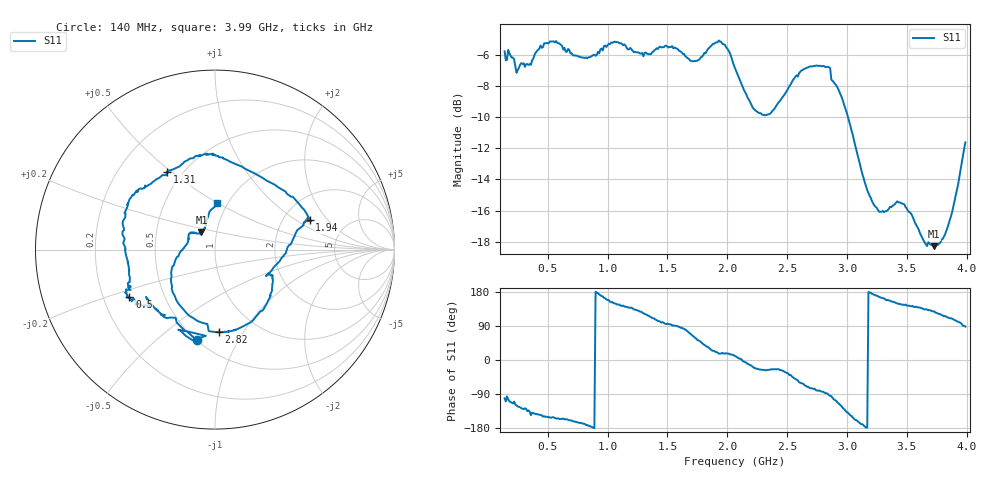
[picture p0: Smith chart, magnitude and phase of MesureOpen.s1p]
# MHz S MA R 50.0
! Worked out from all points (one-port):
!   386 points, 140 MHz to 3.99 GHz, reference 50 ohm
!   lowest |S11| = -18.3 dB at 3.73 GHz (marker M1), VSWR 1.28, Z = 42.2 + j8.19 ohm
!   |S11| at or under -10 dB: 3.009 GHz to end of sweep
!   S11 on the Smith chart (normalised r, x): 140 MHz: 0.50, -0.69; 500 MHz: 0.31, -0.24; 1.31 GHz: 0.41, +0.48; 1.94 GHz: 2.79, +1.31; 2.82 GHz: 0.68, -0.78; 3.99 GHz: 0.89, +0.50
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140  0.5146 -101.4
150  0.4813 -109.2
160  0.4834 -96.0
180  0.5076 -108.7
340  0.4653 -132.9
360  0.4657 -145.6
370  0.4818 -139.1
500  0.5458 -150.9
630  0.5213 -154.4
900  0.4978 179.7
1030  0.549 152.1
1110  0.5466 143.4
1310  0.5087 121.6
1590  0.5212 88.0
1870  0.5379 25.8
1940  0.5527 17.1
2070  0.4491 9.6
2300  0.3213 -26.2
2430  0.3533 -24.4
2550  0.4168 -46.1
2670  0.4565 -71.0
2820  0.4577 -87.5
3030  0.2958 -146.2
3230  0.1643 171.7
3510  0.1582 143.4
3730  0.1218 128.4
3870  0.1523 110.0
3990  0.2625 88.2
